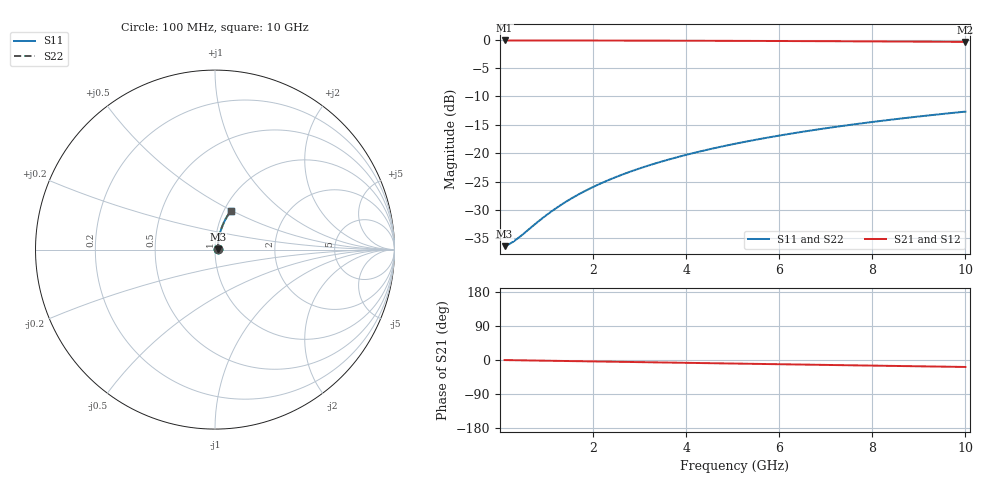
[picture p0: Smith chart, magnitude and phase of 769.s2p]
# Hz S RI R 50.00
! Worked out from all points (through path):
!   100 points, 100 MHz to 10 GHz, reference 50 ohm
!   highest |S21| = -0.13 dB at 100 MHz (marker M1); lowest = -0.4 dB at 10 GHz (marker M2)
!   group delay of S21, straight-line fit = 5.12 ps
!   lowest |S11| = -36.4 dB at 100 MHz (marker M3), VSWR 1.03, Z = 51.5 + j0.242 ohm
!   |S11| at or under -10 dB: start of sweep to end of sweep
!   |S22| runs from -36.4 to -12.7 dB; largest |S21 - S12| = 0
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1e8  0.015 0.00235  0.985 -0.00321  0.985 -0.00321  0.015 0.00235
2e8  0.0151 0.0047  0.9849 -0.00643  0.9849 -0.00643  0.0151 0.0047
3e8  0.0152 0.00705  0.9848 -0.00964  0.9848 -0.00964  0.0152 0.00705
4e8  0.0153 0.0094  0.9847 -0.0128  0.9847 -0.0128  0.0153 0.0094
9e8  0.016 0.0211  0.9839 -0.0289  0.9839 -0.0289  0.016 0.0211
1.2e9  0.0166 0.0281  0.9833 -0.0385  0.9833 -0.0385  0.0166 0.0281
1.5e9  0.0173 0.0351  0.9826 -0.0481  0.9826 -0.0481  0.0173 0.0351
1.8e9  0.0181 0.0421  0.9818 -0.0577  0.9818 -0.0577  0.0181 0.0421
2.1e9  0.0191 0.0491  0.9808 -0.0672  0.9808 -0.0672  0.0191 0.0491
2.5e9  0.0205 0.0584  0.9792 -0.0799  0.9792 -0.0799  0.0205 0.0584
2.9e9  0.0222 0.0676  0.9774 -0.0926  0.9774 -0.0926  0.0222 0.0676
3.4e9  0.0247 0.079  0.9749 -0.1083  0.9749 -0.1083  0.0247 0.079
3.8e9  0.0269 0.088  0.9725 -0.1209  0.9725 -0.1209  0.0269 0.088
4.2e9  0.0293 0.097  0.97 -0.1333  0.97 -0.1333  0.0293 0.097
4.6e9  0.032 0.1059  0.9671 -0.1457  0.9671 -0.1457  0.032 0.1059
5.1e9  0.0357 0.1169  0.9633 -0.161  0.9633 -0.161  0.0357 0.1169
5.9e9  0.0422 0.1342  0.9564 -0.1853  0.9564 -0.1853  0.0422 0.1342
6.7e9  0.0496 0.1511  0.9486 -0.2091  0.9486 -0.2091  0.0496 0.1511
7.5e9  0.0579 0.1675  0.94 -0.2324  0.94 -0.2324  0.0579 0.1675
8.4e9  0.068 0.1853  0.9292 -0.2581  0.9292 -0.2581  0.068 0.1853
9.2e9  0.0778 0.2005  0.9189 -0.2803  0.9189 -0.2803  0.0778 0.2005
1e10  0.0883 0.2151  0.9078 -0.3019  0.9078 -0.3019  0.0883 0.2151
